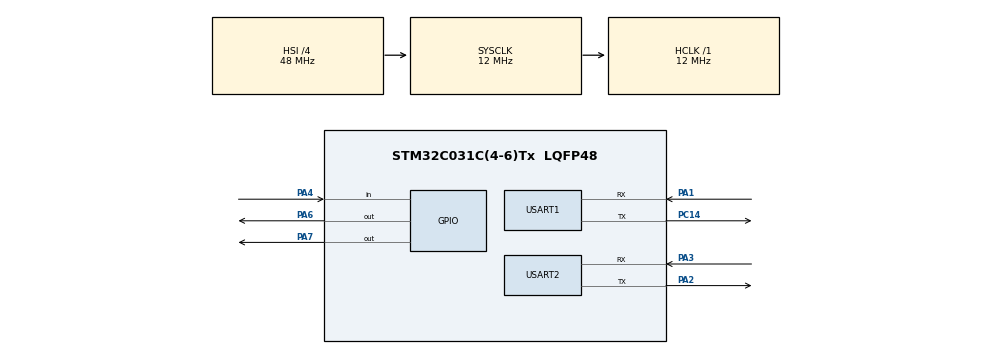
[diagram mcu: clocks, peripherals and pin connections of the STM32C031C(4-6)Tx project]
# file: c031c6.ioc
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Mcu.Family=STM32C0
Mcu.Name=STM32C031C(4-6)Tx
Mcu.Package=LQFP48
NVIC.USART1_IRQn=true\:0\:0\:false\:false\:true\:true\:true\:true
NVIC.USART2_IRQn=true\:0\:0\:false\:false\:true\:true\:true\:true
PA1.Mode=Asynchronous
PA1.Signal=USART1_RX
PA2.Mode=Asynchronous
PA2.Signal=USART2_TX
PA3.Mode=Asynchronous
PA3.Signal=USART2_RX
PA4.Signal=GPIO_Input
PA6.Signal=GPIO_Output
PA7.Signal=GPIO_Output
PC14-OSCX_IN\ (PC14).Mode=Asynchronous
PC14-OSCX_IN\ (PC14).Signal=USART1_TX
ProjectManager.HeapSize=0x200
ProjectManager.StackSize=0x400
ProjectManager.TargetToolchain=STM32CubeIDE
RCC.ADCFreq_Value=12000000
RCC.AHBFreq_Value=12000000
RCC.CortexFreq_Value=12000000
RCC.EXTERNAL_CLOCK_VALUE=12288000
RCC.HCLKFreq_Value=12000000
RCC.HSE_VALUE=8000000
RCC.HSI_VALUE=48000000
RCC.LSE_VALUE=32768
RCC.SYSCLKFreq_VALUE=12000000
USART1.VirtualMode-Asynchronous=VM_ASYNC
USART2.VirtualMode-Asynchronous=VM_ASYNC
board=custom

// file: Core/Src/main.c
/* USER CODE BEGIN Header */
/**
  ******************************************************************************
  * @file           : main.c
  * @brief          : Main program body
  ******************************************************************************
  * @attention
  *
  * Copyright (c) 2024 STMicroelectronics.
  * All rights reserved.
  *
  * This software is licensed under terms that can be found in the LICENSE file
  * in the root directory of this software component.
  * If no LICENSE file comes with this software, it is provided AS-IS.
  *
  ******************************************************************************
  */
/* USER CODE END Header */
#include "main.h"

UART_HandleTypeDef huart1;
UART_HandleTypeDef huart2;

void SystemClock_Config(void);
static void MX_GPIO_Init(void);
static void MX_USART1_UART_Init(void);
static void MX_USART2_UART_Init(void);

int main(void)
{

  /* MCU Configuration--------------------------------------------------------*/

  /* Reset of all peripherals, Initializes the Flash interface and the Systick. */
  HAL_Init();

  /* Configure the system clock */
  SystemClock_Config();

  /* Initialize all configured peripherals */
  MX_GPIO_Init();
  MX_USART1_UART_Init();
  MX_USART2_UART_Init();
  /* USER CODE BEGIN 2 */
  uint8_t Test[] = "Digite algo para ser recebido (As vezes é necessario digitar mais de uma vez)\r\n";
  uint8_t recive[4];
  /* USER CODE END 2 */

  /* Infinite loop */
  /* USER CODE BEGIN WHILE */
  while (1)
  {
	  //CHAVE apertado
	  	  if(HAL_GPIO_ReadPin(GPIOA, GPIO_PIN_4) == 0){
	  		  huart1.Init.BaudRate = 19200;
	  		  HAL_UART_Init(&huart1);
	  	  }
	  	  //Botão não apertado
	  	  else{
	  		  huart1.Init.BaudRate = 115200;
	  		  HAL_UART_Init(&huart1);
	  	  }

        HAL_GPIO_WritePin(GPIOA, GPIO_PIN_6,1);
	      HAL_UART_Transmit(&huart1, Test, sizeof(Test), HAL_MAX_DELAY);
	      HAL_Delay(20);
	      HAL_GPIO_WritePin(GPIOA, GPIO_PIN_6,0);
	      HAL_GPIO_WritePin(GPIOA, GPIO_PIN_7,1);
	      HAL_UART_Receive(&huart1, recive, 4, HAL_MAX_DELAY);
	      HAL_GPIO_WritePin(GPIOA, GPIO_PIN_7,0);
	      HAL_Delay(100);
    /* USER CODE END WHILE */

  }
}

void SystemClock_Config(void)
{
  RCC_OscInitTypeDef RCC_OscInitStruct = {0};
  RCC_ClkInitTypeDef RCC_ClkInitStruct = {0};

  /** Initializes the RCC Oscillators according to the specified parameters
  * in the RCC_OscInitTypeDef structure.
  */
  RCC_OscInitStruct.OscillatorType = RCC_OSCILLATORTYPE_HSI;
  RCC_OscInitStruct.HSIState = RCC_HSI_ON;
  RCC_OscInitStruct.HSIDiv = RCC_HSI_DIV4;
  RCC_OscInitStruct.HSICalibrationValue = RCC_HSICALIBRATION_DEFAULT;
  if (HAL_RCC_OscConfig(&RCC_OscInitStruct) != HAL_OK)
  {
    Error_Handler();
  }

  /** Initializes the CPU, AHB and APB buses clocks
  */
  RCC_ClkInitStruct.ClockType = RCC_CLOCKTYPE_HCLK|RCC_CLOCKTYPE_SYSCLK
                              |RCC_CLOCKTYPE_PCLK1;
  RCC_ClkInitStruct.SYSCLKSource = RCC_SYSCLKSOURCE_HSI;
  RCC_ClkInitStruct.SYSCLKDivider = RCC_SYSCLK_DIV1;
  RCC_ClkInitStruct.AHBCLKDivider = RCC_HCLK_DIV1;
  RCC_ClkInitStruct.APB1CLKDivider = RCC_APB1_DIV1;

  if (HAL_RCC_ClockConfig(&RCC_ClkInitStruct, FLASH_LATENCY_0) != HAL_OK)
  {
    Error_Handler();
  }
}

static void MX_USART1_UART_Init(void)
{

  /* USER CODE BEGIN USART1_Init 0 */
  GPIO_InitTypeDef GPIO_InitStruct = {0};
  __HAL_RCC_GPIOB_CLK_ENABLE();
  // PB6     ------> USART2_TX
  // PB7     ------> USART2_RX
  GPIO_InitStruct.Pin = GPIO_PIN_6 | GPIO_PIN_7;
  GPIO_InitStruct.Mode = GPIO_MODE_AF_PP;
  GPIO_InitStruct.Pull = GPIO_NOPULL;
  GPIO_InitStruct.Speed = GPIO_SPEED_FREQ_LOW;
  GPIO_InitStruct.Alternate = GPIO_AF0_USART1;
  HAL_GPIO_Init(GPIOB, &GPIO_InitStruct);
  /* USER CODE END USART1_Init 0 */

  huart1.Instance = USART1;
  huart1.Init.BaudRate = 115200;
  huart1.Init.WordLength = UART_WORDLENGTH_8B;
  huart1.Init.StopBits = UART_STOPBITS_1;
  huart1.Init.Parity = UART_PARITY_NONE;
  huart1.Init.Mode = UART_MODE_TX_RX;
  huart1.Init.HwFlowCtl = UART_HWCONTROL_NONE;
  huart1.Init.OverSampling = UART_OVERSAMPLING_16;
  huart1.Init.OneBitSampling = UART_ONE_BIT_SAMPLE_DISABLE;
  huart1.Init.ClockPrescaler = UART_PRESCALER_DIV1;
  huart1.AdvancedInit.AdvFeatureInit = UART_ADVFEATURE_NO_INIT;
  if (HAL_UART_Init(&huart1) != HAL_OK)
  {
    Error_Handler();
  }
  if (HAL_UARTEx_SetTxFifoThreshold(&huart1, UART_TXFIFO_THRESHOLD_1_8) != HAL_OK)
  {
    Error_Handler();
  }
  if (HAL_UARTEx_SetRxFifoThreshold(&huart1, UART_RXFIFO_THRESHOLD_1_8) != HAL_OK)
  {
    Error_Handler();
  }
  if (HAL_UARTEx_DisableFifoMode(&huart1) != HAL_OK)
  {
    Error_Handler();
  }

}

static void MX_USART2_UART_Init(void)
{

  /* USER CODE BEGIN USART2_Init 0 */
  GPIO_InitTypeDef GPIO_InitStruct = {0};
  __HAL_RCC_GPIOA_CLK_ENABLE();
  // PA2     ------> USART2_TX
  // PA3     ------> USART2_RX
  GPIO_InitStruct.Pin = GPIO_PIN_2 | GPIO_PIN_3;
  GPIO_InitStruct.Mode = GPIO_MODE_AF_PP;
  GPIO_InitStruct.Pull = GPIO_NOPULL;
  GPIO_InitStruct.Speed = GPIO_SPEED_FREQ_LOW;
  GPIO_InitStruct.Alternate = GPIO_AF1_USART2;
  HAL_GPIO_Init(GPIOA, &GPIO_InitStruct);
  /* USER CODE END USART2_Init 0 */

  huart2.Instance = USART2;
  huart2.Init.BaudRate = 115200;
  huart2.Init.WordLength = UART_WORDLENGTH_8B;
  huart2.Init.StopBits = UART_STOPBITS_1;
  huart2.Init.Parity = UART_PARITY_NONE;
  huart2.Init.Mode = UART_MODE_TX_RX;
  huart2.Init.HwFlowCtl = UART_HWCONTROL_NONE;
  huart2.Init.OverSampling = UART_OVERSAMPLING_16;
  huart2.Init.OneBitSampling = UART_ONE_BIT_SAMPLE_DISABLE;
  huart2.Init.ClockPrescaler = UART_PRESCALER_DIV1;
  huart2.AdvancedInit.AdvFeatureInit = UART_ADVFEATURE_NO_INIT;
  if (HAL_UART_Init(&huart2) != HAL_OK)
  {
    Error_Handler();
  }

}

static void MX_GPIO_Init(void)
{
  GPIO_InitTypeDef GPIO_InitStruct = {0};

  /* GPIO Ports Clock Enable */
  __HAL_RCC_GPIOC_CLK_ENABLE();
  __HAL_RCC_GPIOA_CLK_ENABLE();

  /*Configure GPIO pin Output Level */
  HAL_GPIO_WritePin(GPIOA, GPIO_PIN_6|GPIO_PIN_7, GPIO_PIN_RESET);

  /*Configure GPIO pin : PA4 */
  GPIO_InitStruct.Pin = GPIO_PIN_4;
  GPIO_InitStruct.Mode = GPIO_MODE_INPUT;
  GPIO_InitStruct.Pull = GPIO_NOPULL;
  HAL_GPIO_Init(GPIOA, &GPIO_InitStruct);

  /*Configure GPIO pins : PA6 PA7 */
  GPIO_InitStruct.Pin = GPIO_PIN_6|GPIO_PIN_7;
  GPIO_InitStruct.Mode = GPIO_MODE_OUTPUT_PP;
  GPIO_InitStruct.Pull = GPIO_NOPULL;
  GPIO_InitStruct.Speed = GPIO_SPEED_FREQ_LOW;
  HAL_GPIO_Init(GPIOA, &GPIO_InitStruct);

}

void Error_Handler(void)
{
  __disable_irq();
  while (1)
  {
  }
}
